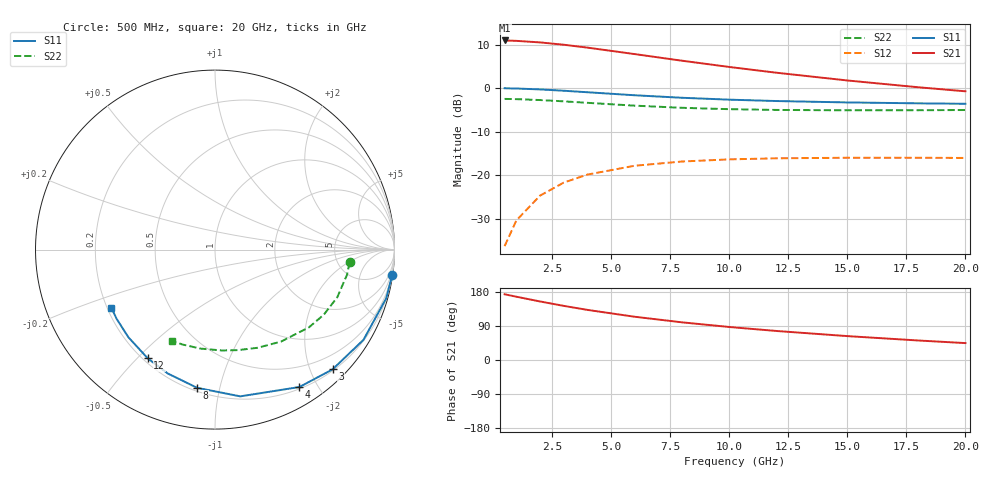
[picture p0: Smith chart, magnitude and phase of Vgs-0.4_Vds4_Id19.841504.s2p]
# Hz S RI R 50
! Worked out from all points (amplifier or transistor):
!   12 points, 500 MHz to 20 GHz, reference 50 ohm
!   highest |S21| = 10.9 dB at 500 MHz (marker M1)
!   |S21| within 3 dB of that: start of sweep to 5.832 GHz
!   unconditionally stable (mu >= 1): 17.41 GHz to end of sweep
!   at 2 GHz: K = 0.10, MSG = 17.6 dB, |S12| = -24.6 dB
!   at 8 GHz: K = 0.43, MSG = 11.6 dB, |S12| = -16.8 dB
!   at 20 GHz: K = 1.18, MAG = 5.1 dB, |S12| = -16.0 dB
!   S11 on the Smith chart (normalised r, x): 500 MHz: 0, -14; 3 GHz: 0.22, -2.37; 4 GHz: 0.22, -1.77; 8 GHz: 0.22, -0.86; 12 GHz: 0.22, -0.54; 20 GHz: 0.22, -0.25
5e8  0.9881 -0.1392  -3.504 0.4019  0.00148 0.0153  0.7501 -0.0715
1e9  0.9533 -0.2725  -3.4 0.786  0.0058 0.03  0.7354 -0.1408
2e9  0.8273 -0.5027  -3.023 1.444  0.0214 0.0545  0.6815 -0.2646
3e9  0.6551 -0.6673  -2.511 1.902  0.0425 0.0708  0.6067 -0.3621
4e9  0.47 -0.7657  -1.964 2.162  0.065 0.0787  0.524 -0.4327
6e9  0.1407 -0.8177  -1.008 2.245  0.1037 0.0766  0.367 -0.5129
8e9  -0.0991 -0.7702  -0.3389 2.039  0.1299 0.0625  0.2361 -0.5471
1e10  -0.2627 -0.6905  0.087 1.75  0.1456 0.0455  0.1285 -0.56
1.2e10  -0.3745 -0.606  0.3486 1.464  0.1542 0.029  0.0369 -0.5619
1.5e10  -0.4823 -0.4885  0.5554 1.093  0.1592 0.0076  -0.0809 -0.5516
1.8e10  -0.5479 -0.3862  0.638 0.8023  0.1589 -0.00965  -0.1815 -0.5287
2e10  -0.5771 -0.3255  0.6555 0.6469  0.1574 -0.0192  -0.2406 -0.5075
